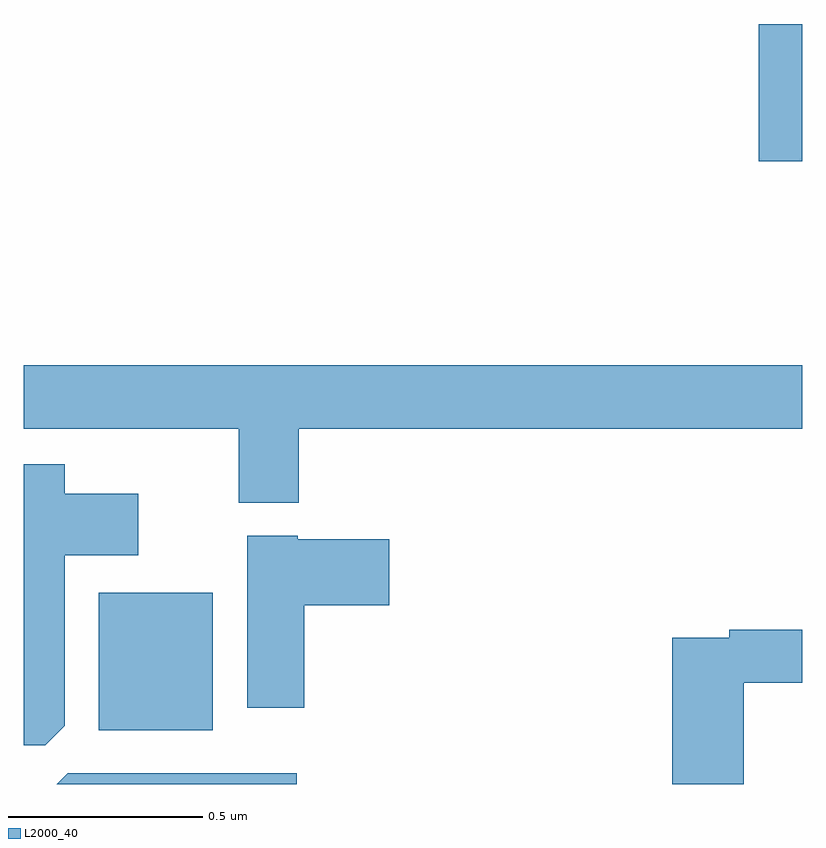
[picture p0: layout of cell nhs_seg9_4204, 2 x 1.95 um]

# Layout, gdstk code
import gdstk
lib = gdstk.Library(unit=1e-6, precision=1e-09)
def R(c, l, rs):  # rectangles x0, y0, x1, y1
    for r in rs: c.add(gdstk.rectangle(r[:2], r[2:], *l))
def P(c, l, *ps):  # polygons
    for p in ps: c.add(gdstk.Polygon(p, *l))
L2000_40 = (2000, 40)

nhs_seg9_4204 = lib.new_cell('nhs_seg9_4204')
R(nhs_seg9_4204, L2000_40, [(163.193,1203.638,163.486,1203.991), (164.888,1205.099,165,1205.452)])
P(nhs_seg9_4204, L2000_40, [(163.706,1204.412),(165,1204.412),(165,1204.576),(163,1204.576),(163,1204.412),(163.553,1204.412),(163.553,1204.223),(163.706,1204.223)],
  [(163.105,1203.649),(163.105,1204.088),(163.294,1204.088),(163.294,1204.246),(163.105,1204.246),(163.105,1204.321),(163,1204.321),(163,1203.6),(163.056,1203.6)],
  [(163.721,1203.959),(163.939,1203.959),(163.939,1204.129),(163.704,1204.129),(163.704,1204.138),(163.574,1204.138),(163.574,1203.696),(163.721,1203.696)],
  [(164.849,1203.76),(165,1203.76),(165,1203.896),(164.812,1203.896),(164.812,1203.876),(164.666,1203.876),(164.666,1203.5),(164.849,1203.5)],
  [(163.702,1203.528),(163.113,1203.528),(163.085,1203.5),(163.702,1203.5)])

lib.write_gds('nhs_seg9_4204.gds')
